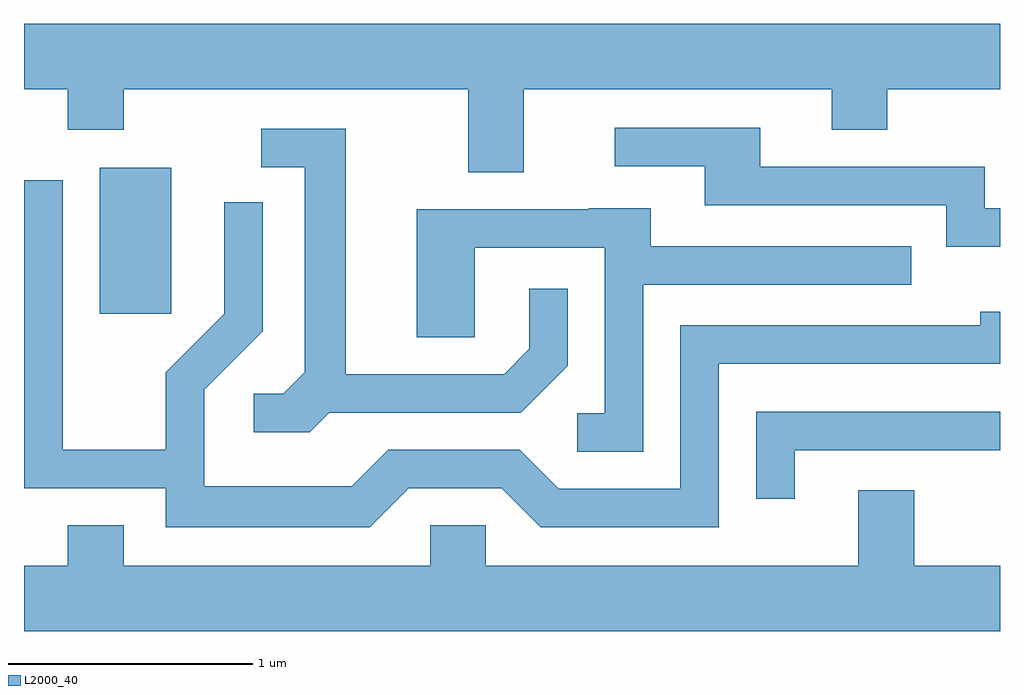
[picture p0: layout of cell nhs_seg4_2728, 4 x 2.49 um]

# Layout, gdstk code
import gdstk
lib = gdstk.Library(unit=1e-6, precision=1e-09)
def R(c, l, rs):  # rectangles x0, y0, x1, y1
    for r in rs: c.add(gdstk.rectangle(r[:2], r[2:], *l))
def P(c, l, *ps):  # polygons
    for p in ps: c.add(gdstk.Polygon(p, *l))
L2000_40 = (2000, 40)

nhs_seg4_2728 = lib.new_cell('nhs_seg4_2728')
R(nhs_seg4_2728, L2000_40, [(265.921,1271.616,266.214,1272.214)])
P(nhs_seg4_2728, L2000_40, [(267.659,1272.536),(268.921,1272.536),(268.921,1272.371),(269.149,1272.371),(269.149,1272.536),(269.611,1272.536),(269.611,1272.804),(265.611,1272.804),(265.611,1272.536),(265.791,1272.536),(265.791,1272.371),(266.019,1272.371),(266.019,1272.536),(267.431,1272.536),(267.431,1272.196),(267.659,1272.196)],
  [(269.611,1272.049),(269.549,1272.049),(269.549,1272.219),(268.629,1272.219),(268.629,1272.379),(268.033,1272.379),(268.033,1272.221),(268.401,1272.221),(268.401,1272.061),(269.391,1272.061),(269.391,1271.891),(269.611,1271.891)],
  [(266.862,1271.211),(267.647,1271.211),(267.839,1271.404),(267.839,1271.718),(267.681,1271.718),(267.681,1271.472),(267.579,1271.369),(266.929,1271.369),(266.929,1272.374),(266.583,1272.374),(266.583,1272.216),(266.761,1272.216),(266.761,1271.377),(266.674,1271.289),(266.553,1271.289),(266.553,1271.131),(266.782,1271.131)],
  [(267.187,1270.901),(267.569,1270.901),(267.729,1270.741),(268.459,1270.741),(268.459,1271.411),(269.611,1271.411),(269.611,1271.624),(269.531,1271.624),(269.531,1271.569),(268.301,1271.569),(268.301,1270.899),(267.802,1270.899),(267.642,1271.059),(267.104,1271.059),(266.954,1270.909),(266.349,1270.909),(266.349,1271.304),(266.589,1271.544),(266.589,1272.073),(266.431,1272.073),(266.431,1271.617),(266.191,1271.377),(266.191,1271.059),(265.769,1271.059),(265.769,1272.164),(265.611,1272.164),(265.611,1270.901),(266.191,1270.901),(266.191,1270.741),(267.027,1270.741)],
  [(268.149,1271.736),(269.248,1271.736),(269.248,1271.894),(268.179,1271.894),(268.179,1272.049),(267.925,1272.049),(267.925,1272.044),(267.221,1272.044),(267.221,1271.521),(267.459,1271.521),(267.459,1271.886),(267.991,1271.886),(267.991,1271.209),(267.878,1271.209),(267.878,1271.051),(268.149,1271.051)],
  [(268.769,1271.056),(269.611,1271.056),(269.611,1271.214),(268.611,1271.214),(268.611,1270.858),(268.769,1270.858)],
  [(269.611,1270.584),(269.259,1270.584),(269.259,1270.894),(269.031,1270.894),(269.031,1270.584),(267.504,1270.584),(267.504,1270.749),(267.276,1270.749),(267.276,1270.584),(266.019,1270.584),(266.019,1270.749),(265.791,1270.749),(265.791,1270.584),(265.611,1270.584),(265.611,1270.316),(269.611,1270.316)])

lib.write_gds('nhs_seg4_2728.gds')
